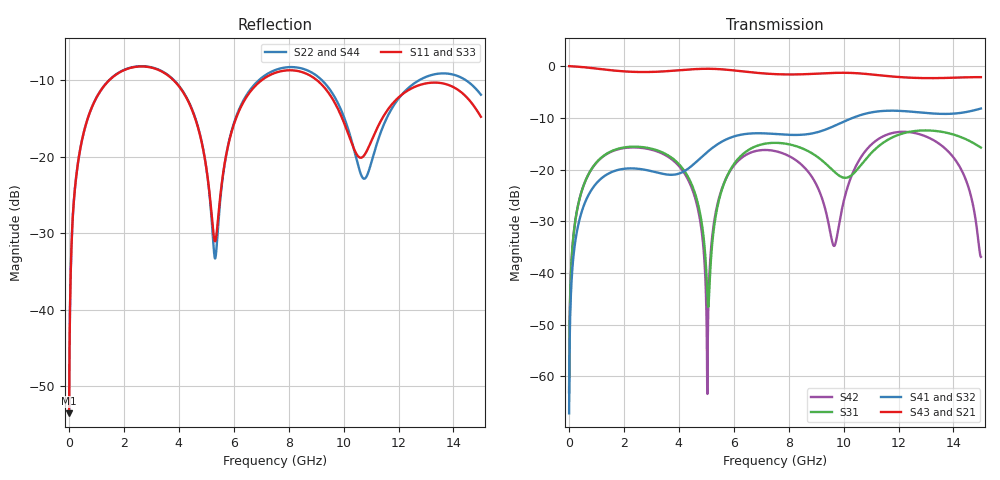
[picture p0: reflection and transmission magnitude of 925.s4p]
! Created with skrf 1.8.0 (http://scikit-rf.org).
# GHz S RI R 50.0
!freq ReS11 ImS11 ReS12 ImS12 ReS13 ImS13
! ReS14 ImS14
! ReS21 ImS21 ReS22 ImS22 ReS23 ImS23
! ReS24 ImS24
! ReS31 ImS31 ReS32 ImS32 ReS33 ImS33
! ReS34 ImS34
! ReS41 ImS41 ReS42 ImS42 ReS43 ImS43
! ReS44 ImS44
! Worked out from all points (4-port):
!   2499 points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, 5 MHz to 15 GHz, reference 50 ohm
!   strongest paths, dB at 5 MHz, 3.476 GHz, 7.19 GHz, 11.1 GHz, 15 GHz:
!     S43: 0.0, -1.0, -1.5, -1.7, -2.1
!     S21: 0.0, -1.0, -1.5, -1.7, -2.2
!     S41: -67.1, -20.9, -13.0, -8.9, -8.2
!     S32: -67.1, -20.9, -13.0, -8.9, -8.2
!     S31: -63.1, -16.9, -15.0, -16.3, -15.8
!     S42: -63.1, -17.1, -16.2, -14.8, -36.9
!   lowest |S11| = -53.5 dB at 5 MHz (marker M1), VSWR 1.00, Z = 50.2 + j0.128 ohm
!   |S11| at or under -10 dB: start of sweep to 1.467 GHz; 3.809 GHz to 7.019 GHz (3.21 GHz wide, 59.3 % of centre); 9.029 GHz to end of sweep
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0.005  0.00168 0.00127  0.9983 -0.00328  8.57e-05 0.000696  -8.3e-05 -0.000432
       0.9983 -0.00328  0.00168 0.00127  -8.3e-05 -0.000432  8.56e-05 0.000696
       8.57e-05 0.000696  -8.3e-05 -0.000432  0.00168 0.00128  0.9983 -0.00328
       -8.3e-05 -0.000432  8.56e-05 0.000696  0.9983 -0.00328  0.00168 0.00128
0.3626511  0.0316 0.0953  0.9563 -0.2341  0.0159 0.0467  -0.0129 -0.0284
           0.9563 -0.2341  0.0317 0.0953  -0.0129 -0.0284  0.0154 0.0469
           0.0159 0.0467  -0.0129 -0.0284  0.0316 0.0953  0.9563 -0.2341
           -0.0129 -0.0284  0.0154 0.0469  0.9563 -0.2341  0.0317 0.0953
1.825761  0.3238 0.144  0.4102 -0.797  0.1552 0.0383  -0.098 0.0184
          0.4102 -0.797  0.3258 0.142  -0.098 0.0183  0.1506 0.0473
          0.1552 0.0383  -0.098 0.0183  0.3238 0.1439  0.4102 -0.7969
          -0.098 0.0184  0.1506 0.0473  0.4102 -0.7969  0.3257 0.1421
5.033347  0.0393 -0.0663  -0.9109 -0.24  -0.00512 -0.00459  -0.0322 0.1439
          -0.9109 -0.24  0.0329 -0.0693  -0.0337 0.1435  0.000634 -0.000439
          -0.00512 -0.00459  -0.0337 0.1435  0.0393 -0.0662  -0.9108 -0.2402
          -0.0322 0.1439  0.000634 -0.000439  -0.9108 -0.2402  0.0328 -0.0691
8.222176  0.3654 -0.0138  -0.0155 0.8299  0.1178 -0.1224  0.2096 -0.0517
          -0.0155 0.8299  0.383 -0.0313  0.2096 -0.0483  0.1146 -0.0506
          0.1178 -0.1224  0.2096 -0.0483  0.3652 -0.014  -0.0159 0.8302
          0.2096 -0.0517  0.1146 -0.0506  -0.0159 0.8302  0.3818 -0.031
11.01084  0.117 0.0485  0.8297 -0.0345  0.0222 0.1428  -0.0363 -0.3549
          0.8297 -0.0345  0.0845 0.0355  -0.0307 -0.3543  0.0589 0.1641
          0.0222 0.1428  -0.0307 -0.3543  0.1215 0.0479  0.8298 -0.0332
          -0.0363 -0.3549  0.0589 0.1641  0.8298 -0.0332  0.0791 0.0339
15  0.169 -0.0686  -0.4933 -0.603  -0.0869 -0.1379  -0.2881 0.2612
    -0.4933 -0.603  0.1972 -0.1605  -0.2971 0.249  0.0133 0.00518
    -0.0869 -0.1379  -0.2971 0.249  0.1495 -0.0766  -0.4952 -0.6048
    -0.2881 0.2612  0.0133 0.00518  -0.4952 -0.6048  0.1993 -0.1421
